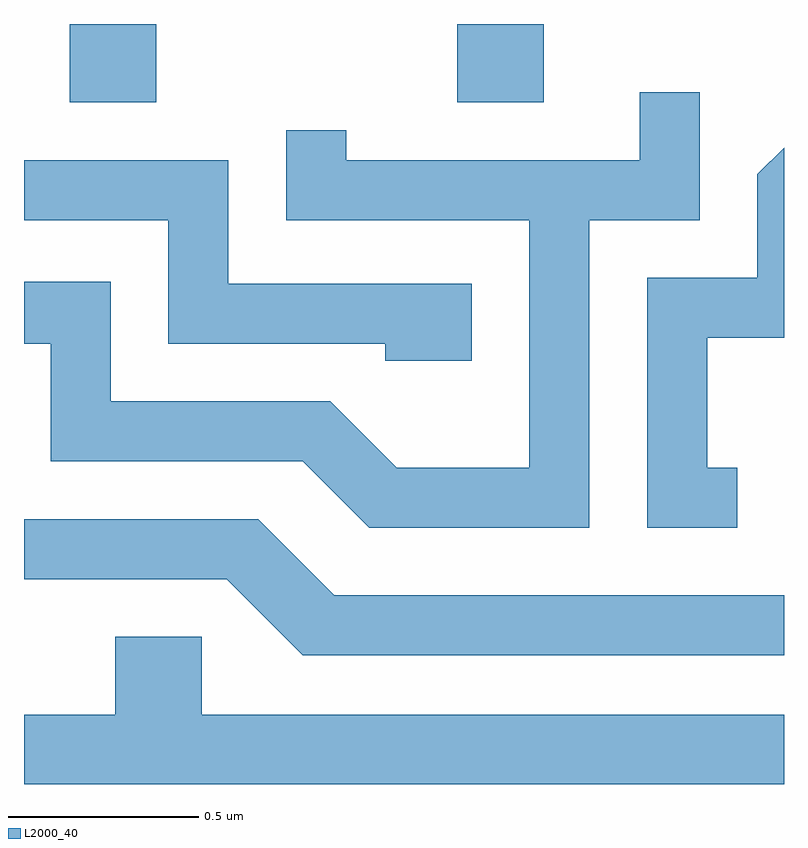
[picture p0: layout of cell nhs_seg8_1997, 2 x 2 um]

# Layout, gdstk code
import gdstk
lib = gdstk.Library(unit=1e-6, precision=1e-09)
def R(c, l, rs):  # rectangles x0, y0, x1, y1
    for r in rs: c.add(gdstk.rectangle(r[:2], r[2:], *l))
def P(c, l, *ps):  # polygons
    for p in ps: c.add(gdstk.Polygon(p, *l))
L2000_40 = (2000, 40)

nhs_seg8_1997 = lib.new_cell('nhs_seg8_1997')
R(nhs_seg8_1997, L2000_40, [(199.731,1887.136,199.959,1887.342), (200.751,1887.136,200.979,1887.342)])
P(nhs_seg8_1997, L2000_40, [(201.099,1886.826),(201.389,1886.826),(201.389,1887.163),(201.231,1887.163),(201.231,1886.984),(200.459,1886.984),(200.459,1887.063),(200.301,1887.063),(200.301,1886.826),(200.941,1886.826),(200.941,1886.174),(200.592,1886.174),(200.417,1886.349),(199.839,1886.349),(199.839,1886.664),(199.611,1886.664),(199.611,1886.501),(199.681,1886.501),(199.681,1886.191),(200.344,1886.191),(200.519,1886.016),(201.099,1886.016)],
  [(201.488,1886.174),(201.409,1886.174),(201.409,1886.516),(201.611,1886.516),(201.611,1887.017),(201.541,1886.947),(201.541,1886.674),(201.251,1886.674),(201.251,1886.016),(201.488,1886.016)],
  [(200.789,1886.659),(200.149,1886.659),(200.149,1886.984),(199.611,1886.984),(199.611,1886.826),(199.991,1886.826),(199.991,1886.501),(200.561,1886.501),(200.561,1886.456),(200.789,1886.456)],
  [(201.611,1885.839),(200.427,1885.839),(200.227,1886.039),(199.611,1886.039),(199.611,1885.881),(200.144,1885.881),(200.344,1885.681),(201.611,1885.681)],
  [(201.611,1885.524),(200.079,1885.524),(200.079,1885.729),(199.851,1885.729),(199.851,1885.524),(199.611,1885.524),(199.611,1885.342),(201.611,1885.342)])

lib.write_gds('nhs_seg8_1997.gds')
